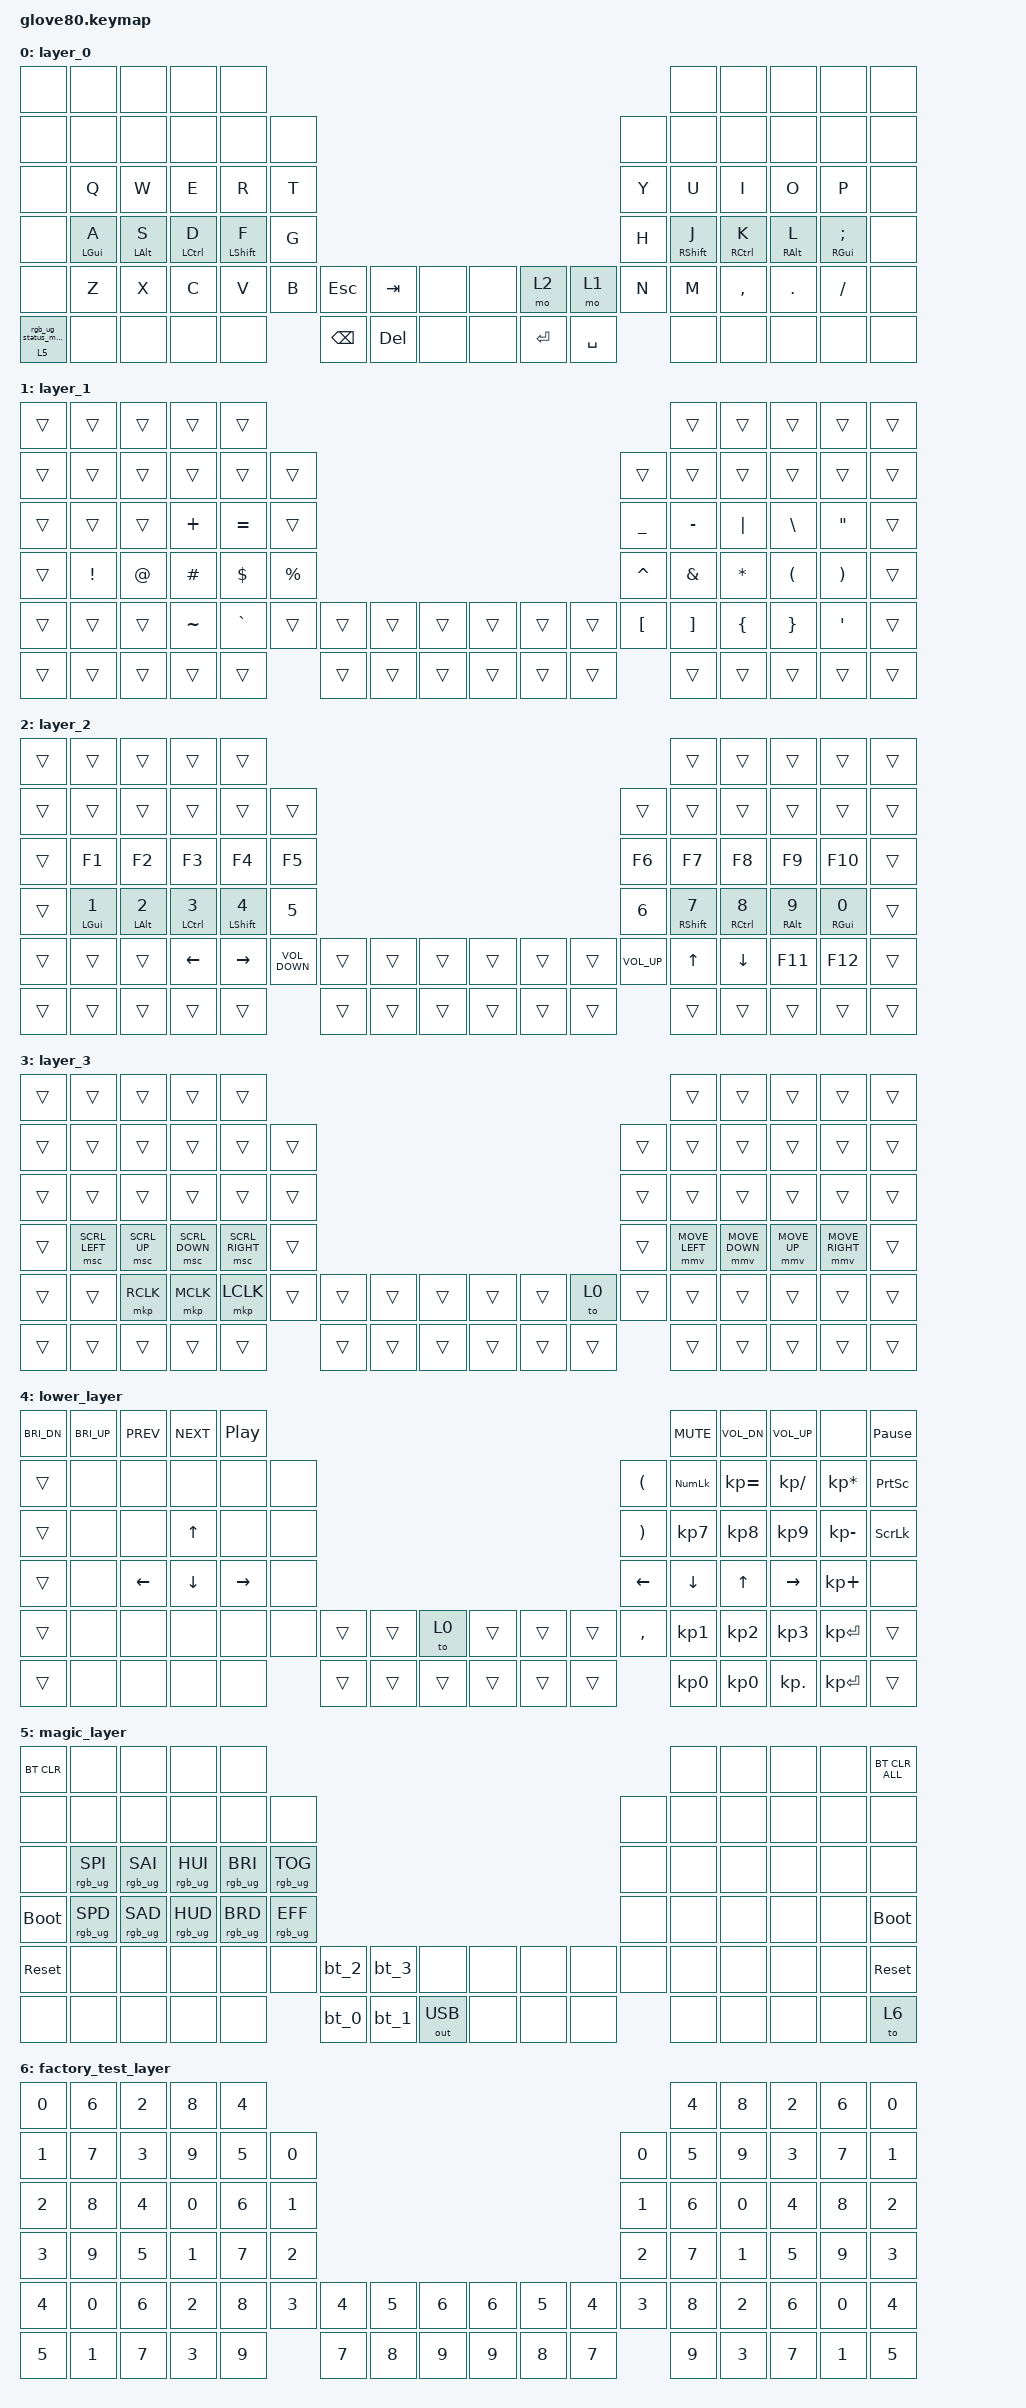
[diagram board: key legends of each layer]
/*
 * Copyright (c) 2020 The ZMK Contributors
 *
 * SPDX-License-Identifier: MIT
 */

#include <behaviors.dtsi>
#include <dt-bindings/zmk/bt.h>
#include <dt-bindings/zmk/keys.h>
#include <dt-bindings/zmk/outputs.h>
#include <dt-bindings/zmk/pointing.h>
#include <dt-bindings/zmk/rgb.h>

#define HYPER LC(LS(LG(LALT)))
#define ZMK_POINTING_DEFAULT_MOVE_VAL 1800  // default: 600
#define ZMK_POINTING_DEFAULT_SCRL_VAL 20    // default: 10

// layers

#define DEFAULT 0
#define LOWER 1
#define MAGIC 2
#define FACTORY_TEST 3

&mmv {
    time-to-max-speed-ms = <1500>;
    acceleration-exponent = <1>;
};

/ {
    behaviors {
        // For the "layer" key, it'd nice to be able to use it as either a shift or a toggle.
        // Configure it as a tap dance, so the first tap (or hold) is a &mo and the second tap is a &to

        layer_td: tap_dance_0 {
            compatible = "zmk,behavior-tap-dance";
            label = "LAYER_TAP_DANCE";
            #binding-cells = <0>;
            tapping-term-ms = <200>;
            bindings = <&mo 4>, <&to 4>;
        };

        magic: magic_hold_tap {
            compatible = "zmk,behavior-hold-tap";
            label = "MAGIC_HOLD_TAP";
            #binding-cells = <2>;
            flavor = "tap-preferred";
            tapping-term-ms = <200>;
            bindings = <&mo>, <&rgb_ug_status_macro>;
        };

        hm: hm {
            compatible = "zmk,behavior-hold-tap";
            label = "HM";
            bindings = <&kp>, <&kp>;

            #binding-cells = <2>;
            tapping-term-ms = <200>;
            flavor = "tap-preferred";
            quick-tap-ms = <200>;
            require-prior-idle-ms = <200>;
        };

        hmo: hmo {
            compatible = "zmk,behavior-hold-tap";
            label = "HMO";
            bindings = <&mo>, <&to>;

            #binding-cells = <2>;
            tapping-term-ms = <200>;
            quick-tap-ms = <200>;
            require-prior-idle-ms = <200>;
            flavor = "tap-preferred";
        };

        hmf: hmf {
            compatible = "zmk,behavior-hold-tap";
            label = "HMF";
            bindings = <&kp>, <&kp>;

            #binding-cells = <2>;
            tapping-term-ms = <150>;
            flavor = "tap-preferred";
            quick-tap-ms = <150>;
            require-prior-idle-ms = <150>;
        };
    };

    macros {
        rgb_ug_status_macro: rgb_ug_status_macro_0 {
            label = "RGB_UG_STATUS";
            compatible = "zmk,behavior-macro";
            #binding-cells = <0>;
            bindings = <&rgb_ug RGB_STATUS>;
        };

        bt_0: bt_profile_macro_0 {
            label = "BT_0";
            compatible = "zmk,behavior-macro";
            #binding-cells = <0>;
            bindings = <&out OUT_BLE &bt BT_SEL 0>;
        };

        bt_1: bt_profile_macro_1 {
            label = "BT_1";
            compatible = "zmk,behavior-macro";
            #binding-cells = <0>;
            bindings = <&out OUT_BLE &bt BT_SEL 1>;
        };

        bt_2: bt_profile_macro_2 {
            label = "BT_2";
            compatible = "zmk,behavior-macro";
            #binding-cells = <0>;
            bindings = <&out OUT_BLE &bt BT_SEL 2>;
        };

        bt_3: bt_profile_macro_3 {
            label = "BT_3";
            compatible = "zmk,behavior-macro";
            #binding-cells = <0>;
            bindings = <&out OUT_BLE &bt BT_SEL 3>;
        };
    };

    keymap {
        compatible = "zmk,keymap";

        layer_0 {
            // ---------------------------------------------------------------------------------------------------------------------------------
            // |  F1   |  F2 |  F3 |  F4  |  F5  |                                                               |  F6   |  F7   |  F8  |   F9  |  F10 |
            // |  =    |  1  |  2  |  3   |  4   |  5   |                                                 |  6   |   7   |   8   |  9   |   0   |   -  |
            // |  TAB  |  Q  |  W  |  E   |  R   |  T   |                                                 |  Y   |   U   |   I   |  O   |   P   |   \  |
            // |  ESC  |  A  |  S  |  D   |  F   |  G   |                                                 |  H   |   J   |   K   |  L   |   ;   |   '  |
            // |   `   |  Z  |  X  |  C   |  V   |  B   | LSHFT | LCTRL | LOWER | | LGUI  | RCTRL | RSHFT |  N   |   M   |   ,   |  .   |   /   | PGUP |
            // | MAGIC | HOME| END | LEFT | RIGHT|      | BSPC  | DEL   | LALT  | | RALT  | RET   | SPACE |      |  UP   | DOWN  |  [   |   ]   | PGDN |

            bindings = <
&none       &none           &none           &none               &none                                                                                   &none               &none                &none            &none               &none
&none       &none           &none           &none               &none              &none                                                         &none  &none               &none                &none            &none               &none
&none       &kp Q           &kp W           &kp E               &kp R              &kp T                                                         &kp Y  &kp U               &kp I                &kp O            &kp P               &none
&none       &hm LEFT_GUI A  &hm LEFT_ALT S  &hm LEFT_CONTROL D  &hmf LEFT_SHIFT F  &kp G                                                         &kp H  &hmf RIGHT_SHIFT J  &hm RIGHT_CONTROL K  &hm RIGHT_ALT L  &hm RIGHT_GUI SEMI  &none
&none       &kp Z           &kp X           &kp C               &kp V              &kp B  &kp ESCAPE  &kp TAB  &none  &none  &mo 2    &mo 1      &kp N  &kp M               &kp COMMA            &kp PERIOD       &kp SLASH           &none
&magic 5 0  &none           &none           &none               &none                     &kp BSPC    &kp DEL  &none  &none  &kp RET  &kp SPACE         &none               &none                &none            &none               &none
            >;
        };

        layer_1 {
            bindings = <
&trans  &trans    &trans  &trans     &trans                                                                                     &trans             &trans          &trans                &trans                 &trans
&trans  &trans    &trans  &trans     &trans      &trans                                                       &trans            &trans             &trans          &trans                &trans                 &trans
&trans  &trans    &trans  &kp PLUS   &kp EQUAL   &trans                                                       &kp UNDER         &kp MINUS          &kp PIPE        &kp BACKSLASH         &kp DOUBLE_QUOTES      &trans
&trans  &kp EXCL  &kp AT  &kp HASH   &kp DOLLAR  &kp PERCENT                                                  &kp CARET         &kp AMPERSAND      &kp ASTERISK    &kp LEFT_PARENTHESIS  &kp RIGHT_PARENTHESIS  &trans
&trans  &trans    &trans  &kp TILDE  &kp GRAVE   &trans       &trans  &trans  &trans  &trans  &trans  &trans  &kp LEFT_BRACKET  &kp RIGHT_BRACKET  &kp LEFT_BRACE  &kp RIGHT_BRACE       &kp APOS               &trans
&trans  &trans    &trans  &trans     &trans                   &trans  &trans  &trans  &trans  &trans  &trans                    &trans             &trans          &trans                &trans                 &trans
            >;
        };

        layer_2 {
            bindings = <
&trans  &trans                 &trans                 &trans              &trans                                                                                                       &trans              &trans              &trans                  &trans                  &trans
&trans  &trans                 &trans                 &trans              &trans                   &trans                                                             &trans           &trans              &trans              &trans                  &trans                  &trans
&trans  &kp F1                 &kp F2                 &kp F3              &kp F4                   &kp F5                                                             &kp F6           &kp F7              &kp F8              &kp F9                  &kp F10                 &trans
&trans  &hm LEFT_GUI NUMBER_1  &hm LEFT_ALT NUMBER_2  &hm LCTRL NUMBER_3  &hm LEFT_SHIFT NUMBER_4  &kp N5                                                             &kp N6           &hm RIGHT_SHIFT N7  &hm RCTRL NUMBER_8  &hm RIGHT_ALT NUMBER_9  &hm RIGHT_GUI NUMBER_0  &trans
&trans  &trans                 &trans                 &kp LEFT            &kp RIGHT                &kp C_VOLUME_DOWN  &trans  &trans  &trans  &trans  &trans  &trans  &kp C_VOLUME_UP  &kp UP              &kp DOWN            &kp F11                 &kp F12                 &trans
&trans  &trans                 &trans                 &trans              &trans                                      &trans  &trans  &trans  &trans  &trans  &trans                   &trans              &trans              &trans                  &trans                  &trans
            >;
        };

        layer_3 {
            bindings = <
&trans  &trans          &trans        &trans          &trans                                                                           &trans          &trans          &trans        &trans           &trans
&trans  &trans          &trans        &trans          &trans           &trans                                                  &trans  &trans          &trans          &trans        &trans           &trans
&trans  &trans          &trans        &trans          &trans           &trans                                                  &trans  &trans          &trans          &trans        &trans           &trans
&trans  &msc SCRL_LEFT  &msc SCRL_UP  &msc SCRL_DOWN  &msc SCRL_RIGHT  &trans                                                  &trans  &mmv MOVE_LEFT  &mmv MOVE_DOWN  &mmv MOVE_UP  &mmv MOVE_RIGHT  &trans
&trans  &trans          &mkp RCLK     &mkp MCLK       &mkp LCLK        &trans  &trans  &trans  &trans  &trans  &trans  &to 0   &trans  &trans          &trans          &trans        &trans           &trans
&trans  &trans          &trans        &trans          &trans                   &trans  &trans  &trans  &trans  &trans  &trans          &trans          &trans          &trans        &trans           &trans
            >;
        };

        lower_layer {
            bindings = <
&kp C_BRI_DN  &kp C_BRI_UP  &kp C_PREV  &kp C_NEXT  &kp C_PP                                                                     &kp C_MUTE  &kp C_VOL_DN  &kp C_VOL_UP   &none            &kp PAUSE_BREAK
&trans        &none         &none       &none       &none      &none                                                  &kp LPAR   &kp KP_NUM  &kp KP_EQUAL  &kp KP_DIVIDE  &kp KP_MULTIPLY  &kp PSCRN
&trans        &none         &none       &kp UP      &none      &none                                                  &kp RPAR   &kp KP_N7   &kp KP_N8     &kp KP_N9      &kp KP_MINUS     &kp SLCK
&trans        &none         &kp LEFT    &kp DOWN    &kp RIGHT  &none                                                  &kp LEFT   &kp DOWN    &kp UP_ARROW  &kp RIGHT      &kp KP_PLUS      &none
&trans        &none         &none       &none       &none      &none  &trans  &trans  &to 0   &trans  &trans  &trans  &kp COMMA  &kp KP_N1   &kp KP_N2     &kp KP_N3      &kp KP_ENTER     &trans
&trans        &none         &none       &none       &none             &trans  &trans  &trans  &trans  &trans  &trans             &kp KP_N0   &kp KP_N0     &kp KP_DOT     &kp KP_ENTER     &trans
            >;
        };

        magic_layer {
            bindings = <
&bt BT_CLR   &none            &none            &none            &none                                                                                     &none  &none  &none  &none  &bt BT_CLR_ALL
&none        &none            &none            &none            &none            &none                                                             &none  &none  &none  &none  &none  &none
&none        &rgb_ug RGB_SPI  &rgb_ug RGB_SAI  &rgb_ug RGB_HUI  &rgb_ug RGB_BRI  &rgb_ug RGB_TOG                                                   &none  &none  &none  &none  &none  &none
&bootloader  &rgb_ug RGB_SPD  &rgb_ug RGB_SAD  &rgb_ug RGB_HUD  &rgb_ug RGB_BRD  &rgb_ug RGB_EFF                                                   &none  &none  &none  &none  &none  &bootloader
&sys_reset   &none            &none            &none            &none            &none            &bt_2  &bt_3  &none         &none  &none  &none  &none  &none  &none  &none  &none  &sys_reset
&none        &none            &none            &none            &none                             &bt_0  &bt_1  &out OUT_USB  &none  &none  &none         &none  &none  &none  &none  &to 6
            >;
        };

        factory_test_layer {
            bindings = <
&kp N0  &kp N6  &kp N2  &kp N8  &kp N4                                                                  &kp N4  &kp N8  &kp N2  &kp N6  &kp N0
&kp N1  &kp N7  &kp N3  &kp N9  &kp N5  &kp N0                                                  &kp N0  &kp N5  &kp N9  &kp N3  &kp N7  &kp N1
&kp N2  &kp N8  &kp N4  &kp N0  &kp N6  &kp N1                                                  &kp N1  &kp N6  &kp N0  &kp N4  &kp N8  &kp N2
&kp N3  &kp N9  &kp N5  &kp N1  &kp N7  &kp N2                                                  &kp N2  &kp N7  &kp N1  &kp N5  &kp N9  &kp N3
&kp N4  &kp N0  &kp N6  &kp N2  &kp N8  &kp N3  &kp N4  &kp N5  &kp N6  &kp N6  &kp N5  &kp N4  &kp N3  &kp N8  &kp N2  &kp N6  &kp N0  &kp N4
&kp N5  &kp N1  &kp N7  &kp N3  &kp N9          &kp N7  &kp N8  &kp N9  &kp N9  &kp N8  &kp N7          &kp N9  &kp N3  &kp N7  &kp N1  &kp N5
            >;
        };
    };
};
